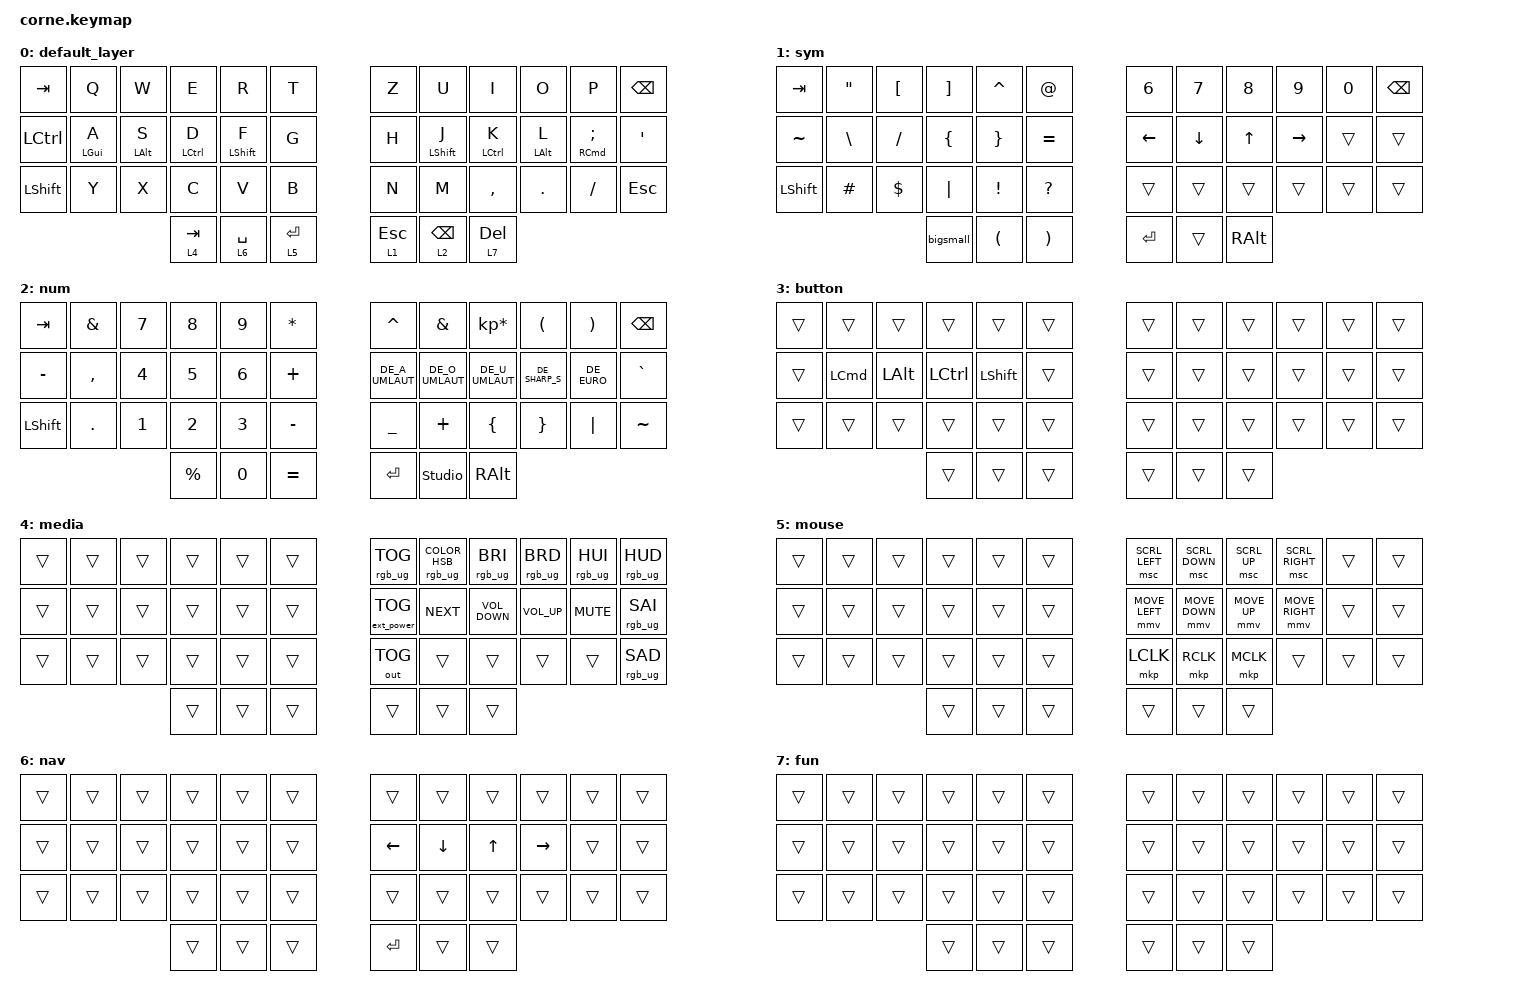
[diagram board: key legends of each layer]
/*
 * Copyright (c) 2020 The ZMK Contributors
 *
 * SPDX-License-Identifier: MIT
 */

#include <dt-bindings/zmk/mouse.h>
#include "keys_de.h"
#include <behaviors.dtsi>
#include <dt-bindings/zmk/ext_power.h>
#include <dt-bindings/zmk/keys.h>
#include <dt-bindings/zmk/outputs.h>
#include <dt-bindings/zmk/pointing.h>
#include <dt-bindings/zmk/pointing.h>
#include <dt-bindings/zmk/pointing.h>
#include <dt-bindings/zmk/rgb.h>

/ {
    behaviors {
        BSPC_TAP_SYM_HOLD: BSPC_TAP_SYM_HOLD {
            compatible = "zmk,behavior-hold-tap";
            label = "BSPC_TAP_SYM_HOLD";
            bindings = <&mo>, <&kp>;

            #binding-cells = <2>;
            flavor = "balanced";
            tapping-term-ms = <220>;
            quick-tap-ms = <170>;
            require-prior-idle-ms = <100>;
        };

        bigsmall: bigsmall {
            compatible = "zmk,behavior-tap-dance";
            label = "BIGSMALL";
            #binding-cells = <0>;
            tapping-term-ms = <200>;
            bindings = <&kp LESS_THAN>, <&kp GREATER_THAN>;
        };
    };

    keymap {
        compatible = "zmk,keymap";

        default_layer {
            // -----------------------------------------------------------------------------------------
            // |  TAB |  Q  |  W  |  E  |  R  |  T  |   |  Y  |  U   |  I  |  O  |  P  | BKSP |
            // | CTRL |  A  |  S  |  D  |  F  |  G  |   |  H  |  J   |  K  |  L  |  ;  |  '   |
            // | SHFT |  Z  |  X  |  C  |  V  |  B  |   |  N  |  M   |  ,  |  .  |  /  | ESC  |
            //                    | GUI | LWR | SPC |   | ENT | RSE  | ALT |

            bindings = <
&kp TAB    &kp Q           &kp W           &kp E        &kp R             &kp T          &kp Z         &kp U                           &kp I               &kp O           &kp P                   &kp BSPC
&kp LCTRL  &mt LEFT_GUI A  &mt LEFT_ALT S  &mt LCTRL D  &mt LEFT_SHIFT F  &kp G          &kp H         &mt LEFT_SHIFT J                &mt LEFT_CONTROL K  &mt LEFT_ALT L  &mt RIGHT_COMMAND SEMI  &kp SQT
&kp LSHFT  &kp Y           &kp X           &kp C        &kp V             &kp B          &kp N         &kp M                           &kp COMMA           &kp DOT         &kp FSLH                &kp ESC
                                           &lt 4 TAB    &lt 6 SPACE       &lt 5 ENTER    &lt 1 ESCAPE  &BSPC_TAP_SYM_HOLD 2 BACKSPACE  &lt 7 DELETE
            >;
        };

        sym {
            // -----------------------------------------------------------------------------------------
            // |  TAB |  1  |  2  |  3  |  4  |  5  |   |  6  |  7  |  8  |  9  |  0  | BKSP |
            // | BTCLR| BT1 | BT2 | BT3 | BT4 | BT5 |   | LFT | DWN |  UP | RGT |     |      |
            // | SHFT |     |     |     |     |     |   |     |     |     |     |     |      |
            //                    | GUI |     | SPC |   | ENT |     | ALT |

            bindings = <
&kp TAB    &kp DOUBLE_QUOTES  &kp LEFT_BRACKET  &kp RIGHT_BRACKET  &kp CARET             &kp AT                   &kp N6    &kp N7    &kp N8    &kp N9     &kp N0  &kp BSPC
&kp TILDE  &kp BACKSLASH      &kp SLASH         &kp LEFT_BRACE     &kp RIGHT_BRACE       &kp EQUAL                &kp LEFT  &kp DOWN  &kp UP    &kp RIGHT  &trans  &trans
&kp LSHFT  &kp HASH           &kp DOLLAR        &kp PIPE           &kp EXCLAMATION       &kp QUESTION             &trans    &trans    &trans    &trans     &trans  &trans
                                                &bigsmall          &kp LEFT_PARENTHESIS  &kp RIGHT_PARENTHESIS    &kp RET   &trans    &kp RALT
            >;
        };

        num {
            // -----------------------------------------------------------------------------------------
            // |  TAB |  !  |  @  |  #  |  $  |  %  |   |  ^  |  &  |  *  |  (  |  )  | BKSP |
            // | CTRL |     |     |     |     |     |   |  -  |  =  |  [  |  ]  |  \  |  `   |
            // | SHFT |     |     |     |     |     |   |  _  |  +  |  {  |  }  | "|" |  ~   |
            //                    | GUI |     | SPC |   | ENT |     | ALT |

            bindings = <
&kp TAB    &kp AMPERSAND  &kp NUMBER_7  &kp NUMBER_8  &kp N9        &kp ASTERISK    &kp CARET        &kp AMPS         &kp KP_MULTIPLY  &kp LPAR        &kp RPAR     &kp BSPC
&kp MINUS  &kp COMMA      &kp NUMBER_4  &kp NUMBER_5  &kp NUMBER_6  &kp PLUS        &kp DE_A_UMLAUT  &kp DE_O_UMLAUT  &kp DE_U_UMLAUT  &kp DE_SHARP_S  &kp DE_EURO  &kp GRAVE
&kp LSHFT  &kp PERIOD     &kp NUMBER_1  &kp NUMBER_2  &kp NUMBER_3  &kp MINUS       &kp UNDER        &kp PLUS         &kp LBRC         &kp RBRC        &kp PIPE     &kp TILDE
                                        &kp PERCENT   &kp NUMBER_0  &kp EQUAL       &kp RET          &studio_unlock   &kp RALT
            >;
        };

        button {
            bindings = <
&trans  &trans            &trans        &trans            &trans          &trans    &trans  &trans  &trans  &trans  &trans  &trans
&trans  &kp LEFT_COMMAND  &kp LEFT_ALT  &kp LEFT_CONTROL  &kp LEFT_SHIFT  &trans    &trans  &trans  &trans  &trans  &trans  &trans
&trans  &trans            &trans        &trans            &trans          &trans    &trans  &trans  &trans  &trans  &trans  &trans
                                        &trans            &trans          &trans    &trans  &trans  &trans
            >;
        };

        media {
            bindings = <
&trans  &trans  &trans  &trans  &trans  &trans    &rgb_ug RGB_TOG    &rgb_ug RGB_COLOR_HSB(114,90,49)  &rgb_ug RGB_BRI    &rgb_ug RGB_BRD  &rgb_ug RGB_HUI  &rgb_ug RGB_HUD
&trans  &trans  &trans  &trans  &trans  &trans    &ext_power EP_TOG  &kp K_NEXT                        &kp C_VOLUME_DOWN  &kp C_VOLUME_UP  &kp K_MUTE       &rgb_ug RGB_SAI
&trans  &trans  &trans  &trans  &trans  &trans    &out OUT_TOG       &trans                            &trans             &trans           &trans           &rgb_ug RGB_SAD
                        &trans  &trans  &trans    &trans             &trans                            &trans
            >;
        };

        mouse {
            bindings = <
&trans  &trans  &trans  &trans  &trans  &trans    &msc SCRL_LEFT  &msc SCRL_DOWN  &msc SCRL_UP  &msc SCRL_RIGHT  &trans  &trans
&trans  &trans  &trans  &trans  &trans  &trans    &mmv MOVE_LEFT  &mmv MOVE_DOWN  &mmv MOVE_UP  &mmv MOVE_RIGHT  &trans  &trans
&trans  &trans  &trans  &trans  &trans  &trans    &mkp LCLK       &mkp RCLK       &mkp MCLK     &trans           &trans  &trans
                        &trans  &trans  &trans    &trans          &trans          &trans
            >;
        };

        nav {
            bindings = <
&trans  &trans  &trans  &trans  &trans  &trans    &trans          &trans          &trans        &trans           &trans  &trans
&trans  &trans  &trans  &trans  &trans  &trans    &kp LEFT_ARROW  &kp DOWN_ARROW  &kp UP_ARROW  &kp RIGHT_ARROW  &trans  &trans
&trans  &trans  &trans  &trans  &trans  &trans    &trans          &trans          &trans        &trans           &trans  &trans
                        &trans  &trans  &trans    &kp ENTER       &trans          &trans
            >;
        };

        fun {
            bindings = <
&trans  &trans  &trans  &trans  &trans  &trans    &trans  &trans  &trans  &trans  &trans  &trans
&trans  &trans  &trans  &trans  &trans  &trans    &trans  &trans  &trans  &trans  &trans  &trans
&trans  &trans  &trans  &trans  &trans  &trans    &trans  &trans  &trans  &trans  &trans  &trans
                        &trans  &trans  &trans    &trans  &trans  &trans
            >;
        };
    };
};
